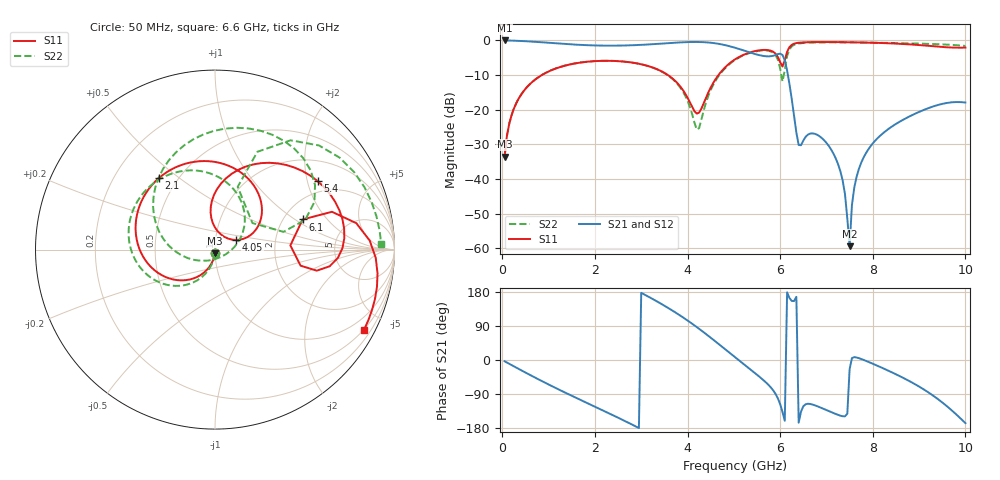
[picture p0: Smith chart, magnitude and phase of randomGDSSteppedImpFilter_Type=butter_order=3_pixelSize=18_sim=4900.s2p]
! freq	dB(S11)	phase(S11)	dB(S12)	phase(S12)
!  dB(S21)	phase(S21)	dB(S22)	phase(S22)
!S-par simulation data
#  GHz  S  DB  R 50
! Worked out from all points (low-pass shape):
!   200 points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, 50 MHz to 10 GHz, reference 50 ohm
!   highest |S21| = -0.01 dB at 50 MHz (marker M1); lowest = -59.3 dB at 7.5 GHz (marker M2)
!   |S21| within 3 dB of the highest: start of sweep to 5.24 GHz
!   lowest |S11| = -33.5 dB at 50 MHz (marker M3), VSWR 1.04, Z = 49.8 - j2.11 ohm
!   |S11| at or under -10 dB: start of sweep to 852.8 MHz; 3.578 GHz to 4.668 GHz (1.09 GHz wide, 26.4 % of centre)
!   |S22| runs from -33.5 to -0.6 dB; largest |S21 - S12| = 0
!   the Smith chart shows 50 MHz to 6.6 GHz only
!   S11 on the Smith chart (normalised r, x): 50 MHz: 1.00, -0.04; 2.1 GHz: 0.40, +0.42; 4.05 GHz: 1.26, +0.14; 5.4 GHz: 1.60, +2.32; 6.1 GHz: 2.53, +1.16; 6.6 GHz: 0.49, -3.92
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0.05  -33.49 -93.2  -0.01 -3.4  -0.01 -3.4  -33.48 -92.6
0.5  -13.98 -126.6  -0.23 -33.1  -0.23 -33.1  -13.97 -120.5
1.75  -6.28 150.1  -1.33 -108.8  -1.33 -108.8  -6.26 171.3
2.1  -5.91 128.1  -1.48 -128.9  -1.48 -128.9  -5.90 153.2
3.4  -8.65 46.0  -0.95 150.5  -0.95 150.5  -8.70 76.8
4.05  -17.82 24.5  -0.46 100.0  -0.46 100.0  -19.15 8.3
4.25  -20.81 69.5  -0.46 82.3  -0.46 82.3  -25.29 -93.8
5.05  -5.26 62.0  -2.21 4.9  -2.21 4.9  -5.43 122.7
5.4  -3.26 33.8  -3.70 -29.1  -3.70 -29.1  -3.39 85.1
5.85  -3.27 -3.9  -4.42 -80.2  -4.42 -80.2  -3.56 32.9
6.1  -5.74 19.0  -5.73 -160.4  -5.73 -160.4  -8.59 70.1
6.4  -0.67 -13.0  -30.17 -165.4  -30.17 -165.4  -0.89 22.7
6.6  -0.51 -28.2  -27.17 -115.5  -27.17 -115.5  -0.66 2.0
6.7  -0.49 -34.6  -26.81 -117.6  -26.81 -117.6  -0.62 -6.8
7.25  -0.48 -65.4  -35.68 -144.8  -35.68 -144.8  -0.56 -47.7
7.5  -0.52 -78.6  -59.35 -24.1  -59.35 -24.1  -0.58 -63.9
7.55  -0.53 -81.2  -47.50 5.0  -47.50 5.0  -0.58 -67.0
7.7  -0.57 -89.1  -37.07 4.8  -37.07 4.8  -0.60 -76.3
8.35  -0.82 -126.6  -25.43 -28.9  -25.43 -28.9  -0.72 -113.7
9.2  -1.56 160.4  -19.54 -85.4  -19.54 -85.4  -0.99 -161.0
9.65  -2.02 96.7  -17.94 -127.0  -17.94 -127.0  -1.24 171.1
10  -2.08 36.9  -17.91 -166.6  -17.91 -166.6  -1.60 144.1
